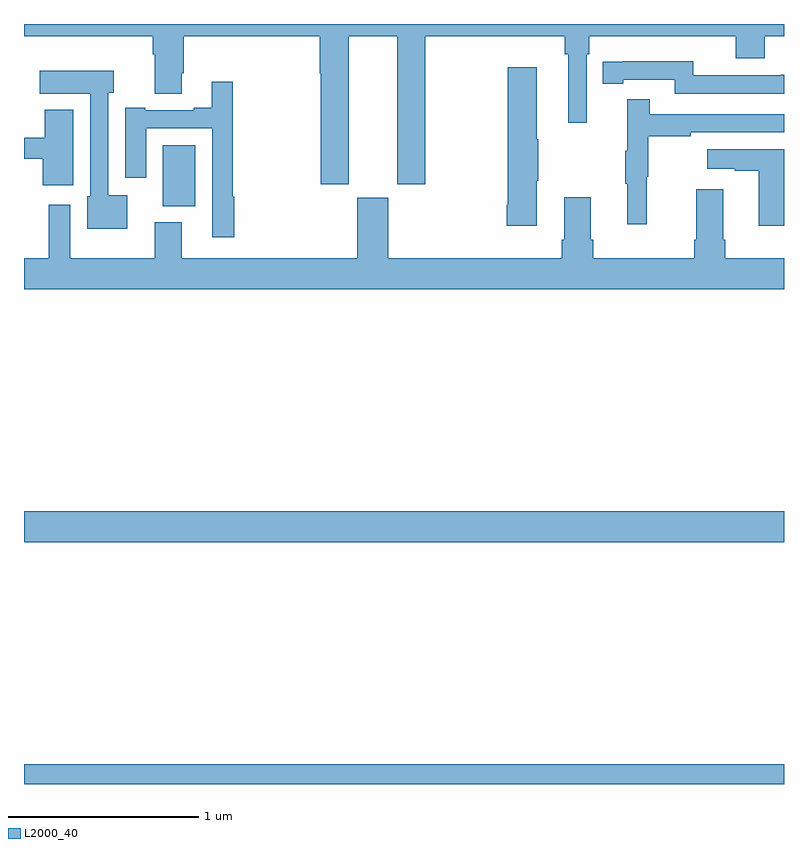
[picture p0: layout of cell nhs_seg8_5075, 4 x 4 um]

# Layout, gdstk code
import gdstk
lib = gdstk.Library(unit=1e-6, precision=1e-09)
def R(c, l, rs):  # rectangles x0, y0, x1, y1
    for r in rs: c.add(gdstk.rectangle(r[:2], r[2:], *l))
def P(c, l, *ps):  # polygons
    for p in ps: c.add(gdstk.Polygon(p, *l))
L2000_40 = (2000, 40)

nhs_seg8_5075 = lib.new_cell('nhs_seg8_5075')
R(nhs_seg8_5075, L2000_40, [(417,1109.9,421,1110.004), (417,1111.172,421,1111.336), (417.731,1112.942,417.901,1113.262)])
P(nhs_seg8_5075, L2000_40, [(418.708,1113.836),(418.964,1113.836),(418.964,1113.057),(419.112,1113.057),(419.112,1113.836),(419.845,1113.836),(419.845,1113.74),(419.864,1113.74),(419.864,1113.381),(419.961,1113.381),(419.961,1113.74),(419.975,1113.74),(419.975,1113.836),(420.746,1113.836),(420.746,1113.719),(420.899,1113.719),(420.899,1113.836),(421,1113.836),(421,1113.9),(417,1113.9),(417,1113.836),(417.677,1113.836),(417.677,1113.74),(417.689,1113.74),(417.689,1113.532),(417.829,1113.532),(417.829,1113.64),(417.842,1113.64),(417.842,1113.836),(418.556,1113.836),(418.556,1113.64),(418.561,1113.64),(418.561,1113.057),(418.708,1113.057)],
  [(421,1113.632),(420.982,1113.632),(420.982,1113.63),(420.522,1113.63),(420.522,1113.703),(420.154,1113.703),(420.154,1113.702),(420.046,1113.702),(420.046,1113.586),(420.154,1113.586),(420.154,1113.606),(420.426,1113.606),(420.426,1113.534),(421,1113.534)],
  [(419.698,1113.076),(419.706,1113.076),(419.706,1113.293),(419.698,1113.293),(419.698,1113.673),(419.545,1113.673),(419.545,1112.95),(419.54,1112.95),(419.54,1112.838),(419.698,1112.838)],
  [(417.544,1112.998),(417.444,1112.998),(417.444,1113.537),(417.472,1113.537),(417.472,1113.655),(417.084,1113.655),(417.084,1113.533),(417.348,1113.533),(417.348,1112.994),(417.332,1112.994),(417.332,1112.822),(417.544,1112.822)],
  [(418.106,1112.99),(418.099,1112.99),(418.099,1113.595),(417.989,1113.595),(417.989,1113.46),(417.893,1113.46),(417.893,1113.447),(417.637,1113.447),(417.637,1113.46),(417.533,1113.46),(417.533,1113.09),(417.643,1113.09),(417.643,1113.351),(417.99,1113.351),(417.99,1112.778),(418.106,1112.778)],
  [(420.278,1113.096),(420.286,1113.096),(420.286,1113.31),(420.509,1113.31),(420.509,1113.33),(421,1113.33),(421,1113.426),(420.293,1113.426),(420.293,1113.505),(420.176,1113.505),(420.176,1113.233),(420.165,1113.233),(420.165,1113.059),(420.176,1113.059),(420.176,1112.847),(420.278,1112.847)],
  [(417.259,1113.448),(417.11,1113.448),(417.11,1113.301),(417,1113.301),(417,1113.192),(417.098,1113.192),(417.098,1113.051),(417.259,1113.051)],
  [(421,1113.241),(420.597,1113.241),(420.597,1113.137),(420.74,1113.137),(420.74,1113.127),(420.866,1113.127),(420.866,1112.838),(421,1112.838)],
  [(421,1112.668),(420.692,1112.668),(420.692,1112.764),(420.679,1112.764),(420.679,1113.031),(420.539,1113.031),(420.539,1112.764),(420.527,1112.764),(420.527,1112.668),(419.996,1112.668),(419.996,1112.764),(419.983,1112.764),(419.983,1112.989),(419.843,1112.989),(419.843,1112.764),(419.831,1112.764),(419.831,1112.668),(418.918,1112.668),(418.918,1112.985),(418.754,1112.985),(418.754,1112.668),(417.829,1112.668),(417.829,1112.857),(417.689,1112.857),(417.689,1112.668),(417.244,1112.668),(417.244,1112.95),(417.131,1112.95),(417.131,1112.668),(417,1112.668),(417,1112.504),(421,1112.504)])

lib.write_gds('nhs_seg8_5075.gds')
